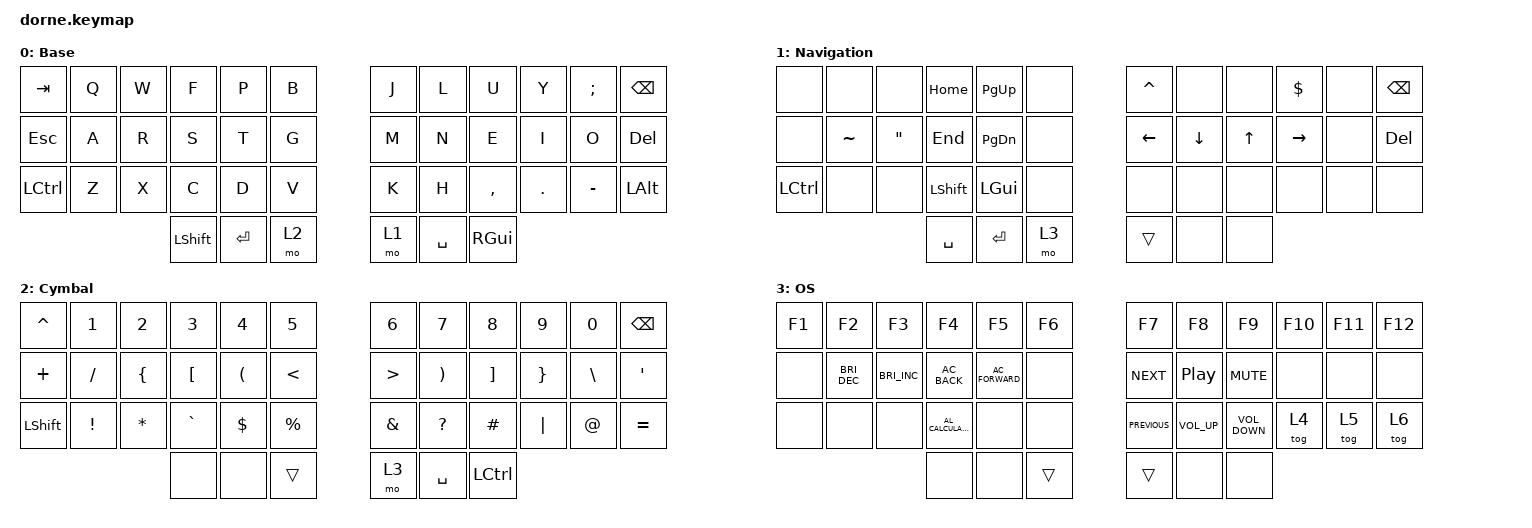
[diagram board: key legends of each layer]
/*
 * Copyright (c) 2020 The ZMK Contributors
 *
 * SPDX-License-Identifier: MIT
 */

#include <behaviors.dtsi>
#include <dt-bindings/zmk/keys.h>
#include <dt-bindings/zmk/bt.h>

/ {
    keymap {
      compatible = "zmk,keymap";
      default_layer { // Layer 0
          display-name = "Base";
          bindings = <
            &kp TAB          &kp Q &kp W &kp F          &kp P     &kp B &kp J &kp L     &kp U         &kp Y   &kp SEMICOLON &kp BACKSPACE
            &kp ESCAPE       &kp A &kp R &kp S          &kp T     &kp G &kp M &kp N     &kp E         &kp I   &kp O         &kp DELETE
            &kp LEFT_CONTROL &kp Z &kp X &kp C          &kp D     &kp V &kp K &kp H     &kp COMMA     &kp DOT &kp MINUS     &kp LEFT_ALT
                                         &kp LEFT_SHIFT &kp ENTER &mo 2 &mo 1 &kp SPACE &kp RIGHT_GUI
          >;
        };

      navigation { // Layer 1
          display-name = "Navigation";
          bindings = <
            &none            &none     &none             &kp HOME       &kp PAGE_UP   &none &kp CARET &none    &none  &kp DOLLAR &none &kp BACKSPACE
            &none            &kp TILDE &kp DOUBLE_QUOTES &kp END        &kp PAGE_DOWN &none &kp LEFT  &kp DOWN &kp UP &kp RIGHT  &none &kp DELETE
            &kp LEFT_CONTROL &none     &none             &kp LEFT_SHIFT &kp LEFT_GUI  &none &none     &none    &none  &none      &none &none
                                                         &kp SPACE      &kp ENTER     &mo 3 &trans    &none    &none
          >;
        };

      symbol { // Layer 2
          display-name = "Cymbal";
          bindings = <
            &kp CARET      &kp N1    &kp N2         &kp N3           &kp N4               &kp N5      &kp N6   &kp N7                &kp N8            &kp N9          &kp N0        &kp BACKSPACE
            &kp PLUS       &kp SLASH &kp LEFT_BRACE &kp LEFT_BRACKET &kp LEFT_PARENTHESIS &kp LT      &kp GT   &kp RIGHT_PARENTHESIS &kp RIGHT_BRACKET &kp RIGHT_BRACE &kp BACKSLASH &kp SINGLE_QUOTE
            &kp LEFT_SHIFT &kp EXCL  &kp ASTRK      &kp GRAVE        &kp DOLLAR           &kp PERCENT &kp AMPS &kp QUESTION          &kp HASH          &kp PIPE        &kp AT        &kp EQUAL
                                                    &none            &none                &trans      &mo 3    &kp SPACE             &kp LEFT_CONTROL
          >;
        };

      os { // Layer 3
          display-name = "OS";
          bindings = <
            &kp F1 &kp F2               &kp F3               &kp F4              &kp F5           &kp F6 &kp F7         &kp F8           &kp F9            &kp F10 &kp F11 &kp F12
            &none  &kp C_BRIGHTNESS_DEC &kp C_BRIGHTNESS_INC &kp C_AC_BACK       &kp C_AC_FORWARD &none  &kp C_NEXT     &kp C_PLAY_PAUSE &kp C_MUTE        &none   &none   &none
            &none  &none                &none                &kp C_AL_CALCULATOR &none            &none  &kp C_PREVIOUS &kp C_VOLUME_UP  &kp C_VOLUME_DOWN &tog 4  &tog 5  &tog 6
                                                             &none               &none            &trans &trans         &none            &none
          >;
        };

      //qwerty { // Layer 4
      //    display-name = "QWERTY";
      //    bindings = <
      //      &kp ESCAPE       &kp Q &kp W &kp E          &kp R     &kp T &kp Y &kp U     &kp I        &kp O   &kp P         &kp BACKSPACE
      //      &kp TAB          &kp A &kp S &kp D          &kp F     &kp G &kp H &kp J     &kp K        &kp L   &kp SEMICOLON &to 0
      //      &kp LEFT_CONTROL &kp Z &kp X &kp C          &kp V     &kp B &kp N &kp M     &kp COMMA    &kp DOT &kp SLASH     &kp LEFT_ALT
      //                                   &kp LEFT_SHIFT &kp ENTER &mo 2 &mo 1 &kp SPACE &kp LEFT_GUI
      //    >;
      //  };
        };
};
